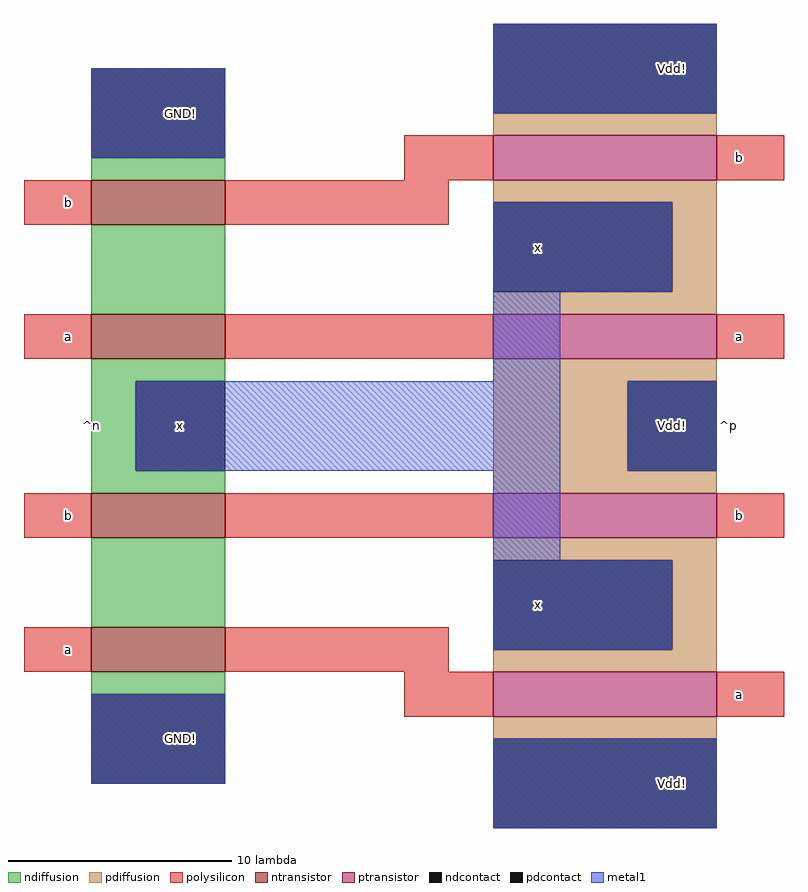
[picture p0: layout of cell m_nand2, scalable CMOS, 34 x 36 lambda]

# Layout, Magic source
magic
tech scmos
<< ndiffusion >>
rect 180 498 186 499
rect 180 492 186 496
rect 180 489 186 490
rect 180 485 182 489
rect 180 484 186 485
rect 180 478 186 482
rect 180 475 186 476
<< pdiffusion >>
rect 198 500 208 501
rect 198 497 208 498
rect 206 493 208 497
rect 198 492 208 493
rect 198 489 208 490
rect 198 485 204 489
rect 198 484 208 485
rect 198 481 208 482
rect 206 477 208 481
rect 198 476 208 477
rect 198 473 208 474
<< ntransistor >>
rect 180 496 186 498
rect 180 490 186 492
rect 180 482 186 484
rect 180 476 186 478
<< ptransistor >>
rect 198 498 208 500
rect 198 490 208 492
rect 198 482 208 484
rect 198 474 208 476
<< polysilicon >>
rect 194 498 198 500
rect 208 498 211 500
rect 177 496 180 498
rect 186 496 196 498
rect 177 490 180 492
rect 186 490 198 492
rect 208 490 211 492
rect 177 482 180 484
rect 186 482 198 484
rect 208 482 211 484
rect 177 476 180 478
rect 186 476 196 478
rect 194 474 198 476
rect 208 474 211 476
<< ndcontact >>
rect 180 499 186 503
rect 182 485 186 489
rect 180 471 186 475
<< pdcontact >>
rect 198 501 208 505
rect 198 493 206 497
rect 204 485 208 489
rect 198 477 206 481
rect 198 469 208 473
<< metal1 >>
rect 180 499 186 503
rect 198 501 208 505
rect 198 493 206 497
rect 198 489 201 493
rect 182 485 201 489
rect 204 485 208 489
rect 198 481 201 485
rect 198 477 206 481
rect 180 471 186 475
rect 198 469 208 473
<< labels >>
rlabel polysilicon 179 491 179 491 3 a
rlabel polysilicon 179 497 179 497 3 b
rlabel polysilicon 179 477 179 477 3 a
rlabel polysilicon 179 483 179 483 3 b
rlabel space 177 470 183 504 7 ^n
rlabel space 205 468 212 506 3 ^p
rlabel polysilicon 209 475 209 475 7 a
rlabel polysilicon 209 499 209 499 7 b
rlabel polysilicon 209 483 209 483 7 b
rlabel polysilicon 209 491 209 491 7 a
rlabel ndcontact 184 487 184 487 1 x
rlabel ndcontact 184 473 184 473 1 GND!
rlabel ndcontact 184 501 184 501 1 GND!
rlabel pdcontact 206 487 206 487 1 Vdd!
rlabel pdcontact 200 495 200 495 1 x
rlabel pdcontact 200 479 200 479 1 x
rlabel pdcontact 206 471 206 471 1 Vdd!
rlabel pdcontact 206 503 206 503 1 Vdd!
<< end >>
